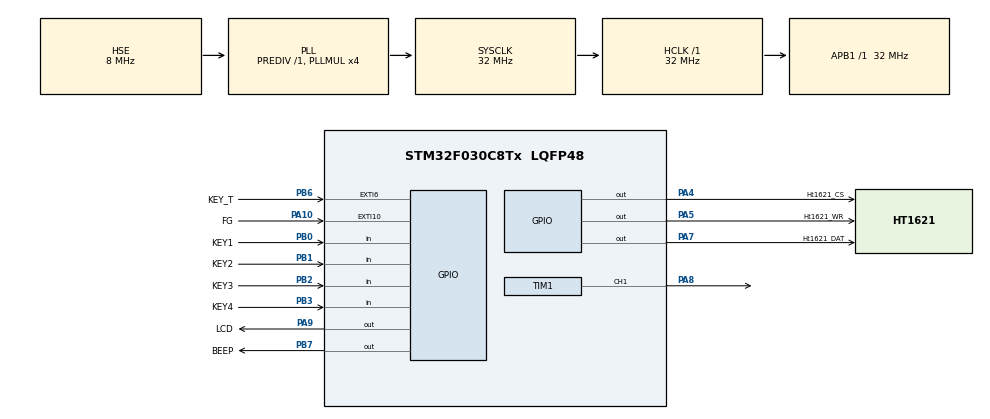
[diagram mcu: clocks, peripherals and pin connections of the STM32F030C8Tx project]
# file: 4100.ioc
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Mcu.Family=STM32F0
Mcu.Name=STM32F030C8Tx
Mcu.Package=LQFP48
NVIC.EXTI4_15_IRQn=true\:0\:0\:true\:false\:true\:true\:true
NVIC.RCC_IRQn=true\:0\:0\:false\:false\:true\:true\:false
NVIC.TIM1_BRK_UP_TRG_COM_IRQn=true\:0\:0\:false\:false\:true\:true\:true
NVIC.TIM1_CC_IRQn=true\:0\:0\:false\:false\:true\:true\:true
PA10.GPIO_Label=FG
PA10.GPIO_ModeDefaultEXTI=GPIO_MODE_IT_FALLING
PA10.GPIO_PuPd=GPIO_NOPULL
PA10.Signal=GPXTI10
PA4.GPIO_Label=Ht1621_CS
PA4.GPIO_PuPd=GPIO_PULLUP
PA4.GPIO_Speed=GPIO_SPEED_FREQ_HIGH
PA4.PinState=GPIO_PIN_SET
PA4.Signal=GPIO_Output
PA5.GPIO_Label=Ht1621_WR
PA5.GPIO_PuPd=GPIO_PULLUP
PA5.GPIO_Speed=GPIO_SPEED_FREQ_HIGH
PA5.PinState=GPIO_PIN_SET
PA5.Signal=GPIO_Output
PA7.GPIO_Label=Ht1621_DAT
PA7.GPIO_PuPd=GPIO_PULLUP
PA7.GPIO_Speed=GPIO_SPEED_FREQ_HIGH
PA7.PinState=GPIO_PIN_SET
PA7.Signal=GPIO_Output
PA8.Signal=S_TIM1_CH1
PA9.GPIO_Label=LCD
PA9.GPIO_PuPd=GPIO_PULLDOWN
PA9.PinState=GPIO_PIN_RESET
PA9.Signal=GPIO_Output
PB0.GPIO_Label=KEY1
PB0.GPIO_PuPd=GPIO_PULLUP
PB0.Signal=GPIO_Input
PB1.GPIO_Label=KEY2
PB1.GPIO_PuPd=GPIO_PULLUP
PB1.Signal=GPIO_Input
PB2.GPIO_Label=KEY3
PB2.GPIO_PuPd=GPIO_PULLUP
PB2.Signal=GPIO_Input
PB3.GPIO_Label=KEY4
PB3.GPIO_PuPd=GPIO_PULLUP
PB3.Signal=GPIO_Input
PB6.GPIO_Label=KEY_T
PB6.GPIO_ModeDefaultEXTI=GPIO_MODE_IT_FALLING
PB6.Signal=GPXTI6
PB7.GPIO_Label=BEEP
PB7.GPIO_ModeDefaultOutputPP=GPIO_MODE_OUTPUT_PP
PB7.GPIO_PuPd=GPIO_PULLUP
PB7.GPIO_Speed=GPIO_SPEED_FREQ_HIGH
PB7.PinState=GPIO_PIN_SET
PB7.Signal=GPIO_Output
PF0-OSC_IN.Mode=HSE-External-Oscillator
PF0-OSC_IN.Signal=RCC_OSC_IN
PF1-OSC_OUT.Mode=HSE-External-Oscillator
PF1-OSC_OUT.Signal=RCC_OSC_OUT
ProjectManager.HeapSize=0x200
ProjectManager.StackSize=0x400
ProjectManager.TargetToolchain=MDK-ARM V5
RCC.AHBFreq_Value=32000000
RCC.APB1Freq_Value=32000000
RCC.APB1TimFreq_Value=32000000
RCC.HCLKFreq_Value=32000000
RCC.PLLMUL=RCC_PLL_MUL4
RCC.PLLSourceVirtual=RCC_PLLSOURCE_HSE
RCC.SYSCLKFreq_VALUE=32000000
RCC.SYSCLKSource=RCC_SYSCLKSOURCE_PLLCLK
SH.S_TIM1_CH1.0=TIM1_CH1,PWM Generation1 CH1
TIM1.AutoReloadPreload=TIM_AUTORELOAD_PRELOAD_ENABLE
TIM1.Channel-PWM\ Generation1\ CH1=TIM_CHANNEL_1
TIM1.Period=100-1
TIM1.Prescaler=32-1
VP_TIM1_VS_ClockSourceINT.Mode=Internal
board=custom

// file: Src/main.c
/* USER CODE BEGIN Header */
/**
  ******************************************************************************
  * @file           : main.c
  * @brief          : Main program body
  ******************************************************************************
  * @attention
  *
  * <h2><center>&copy; Copyright (c) 2020 STMicroelectronics.
  * All rights reserved.</center></h2>
  *
  * This software component is licensed by ST under BSD 3-Clause license,
  * the "License"; You may not use this file except in compliance with the
  * License. You may obtain a copy of the License at:
  *                        opensource.org/licenses/BSD-3-Clause
  *
  ******************************************************************************
  */
/* USER CODE END Header */

#include "main.h"
#include "tim.h"
#include "gpio.h"

/* USER CODE BEGIN Includes */
#include "ht1623.h"
#include "lcd.h"
#include "user.h"
#include "key.h"
/* USER CODE END Includes */

/* USER CODE BEGIN PTD */
extern uint16_t Rpm,Time_SUM,RUN_Status;

/* USER CODE END PTD */

void SystemClock_Config(void);
/* USER CODE BEGIN PFP */
extern  uint8_t cnt;
/* USER CODE END PFP */

/* USER CODE BEGIN 0 */

uint32_t WriteFlashData = 0x12345678;
uint32_t addr = 0x0807E000;
uint16_t  Rpm_Cnt,PWM;
extern uint16_t Set_Flag,Set_Count,Key_Count,Key1_Count;
/*FLASH????*/
void writeFlashTest(void)
{
	/* 1/4??FLASH*/
	HAL_FLASH_Unlock();

	FLASH_EraseInitTypeDef FlashSet;
	FlashSet.TypeErase = FLASH_TYPEERASE_PAGES;
	FlashSet.PageAddress = addr;
	FlashSet.NbPages = 1;

	uint32_t PageError = 0;
	HAL_FLASHEx_Erase(&FlashSet, &PageError);

	HAL_FLASH_Program(FLASH_TYPEPROGRAM_WORD, addr, WriteFlashData);

	HAL_FLASH_Lock();
}

/*FLASH??????*/
void printFlashTest(void)
{
	uint32_t temp = *(__IO uint32_t*)(addr);

	printf("addr is:0x%x, data is:0x%x\r\n", addr, temp);
}

/* USER CODE END 0 */

int main(void)
{

  /* MCU Configuration--------------------------------------------------------*/

  /* Reset of all peripherals, Initializes the Flash interface and the Systick. */
  HAL_Init();

  /* Configure the system clock */
  SystemClock_Config();

  /* Initialize all configured peripherals */
  MX_GPIO_Init();
  MX_TIM1_Init();
  /* USER CODE BEGIN 2 */
	HAL_TIM_Base_Start_IT(&htim1);

   Sys_Init();
	 HAL_TIM_PWM_Start(&htim1, TIM_CHANNEL_1);
	  PWM=0;
  /* USER CODE END 2 */

  /* Infinite loop */
  /* USER CODE BEGIN WHILE */
  while (1)
  {
		 //HAL_GPIO_WritePin(BEEP_GPIO_Port, BEEP_Pin, GPIO_PIN_SET);//
		if(RUN_Status==Sys_RUN)
		PWM=Rpm/20;
		else PWM=0;
	//	HAL_GPIO_WritePin(GPIOA, GPIO_PIN_8, GPIO_PIN_RESET);
	__HAL_TIM_SET_COMPARE(&htim1,TIM_CHANNEL_1,PWM);//pwm 0—400
    /* USER CODE END WHILE */

    /* USER CODE BEGIN 3 */
		LCD_Display();
		Key_Handle();
	}
  /* USER CODE END 3 */
}

void SystemClock_Config(void)
{
  RCC_OscInitTypeDef RCC_OscInitStruct = {0};
  RCC_ClkInitTypeDef RCC_ClkInitStruct = {0};

  /** Initializes the CPU, AHB and APB busses clocks
  */
  RCC_OscInitStruct.OscillatorType = RCC_OSCILLATORTYPE_HSE;
  RCC_OscInitStruct.HSEState = RCC_HSE_ON;
  RCC_OscInitStruct.PLL.PLLState = RCC_PLL_ON;
  RCC_OscInitStruct.PLL.PLLSource = RCC_PLLSOURCE_HSE;
  RCC_OscInitStruct.PLL.PLLMUL = RCC_PLL_MUL4;
  RCC_OscInitStruct.PLL.PREDIV = RCC_PREDIV_DIV1;
  if (HAL_RCC_OscConfig(&RCC_OscInitStruct) != HAL_OK)
  {
    Error_Handler();
  }
  /** Initializes the CPU, AHB and APB busses clocks
  */
  RCC_ClkInitStruct.ClockType = RCC_CLOCKTYPE_HCLK|RCC_CLOCKTYPE_SYSCLK
                              |RCC_CLOCKTYPE_PCLK1;
  RCC_ClkInitStruct.SYSCLKSource = RCC_SYSCLKSOURCE_PLLCLK;
  RCC_ClkInitStruct.AHBCLKDivider = RCC_SYSCLK_DIV1;
  RCC_ClkInitStruct.APB1CLKDivider = RCC_HCLK_DIV1;

  if (HAL_RCC_ClockConfig(&RCC_ClkInitStruct, FLASH_LATENCY_1) != HAL_OK)
  {
    Error_Handler();
  }
}

/* USER CODE BEGIN 4 */
uint32_t next,Speed_Rel;
void HAL_GPIO_EXTI_Callback(uint16_t GPIO_Pin)
{

	//测速
		if(GPIO_Pin ==FG_Pin)
	{
		Rpm_Cnt++;
		if(Rpm_Cnt>3)
		{
			uint32_t first = HAL_GetTick();
			if((first-next)>0)
			Speed_Rel=120000/(first-next);
			//Rpm=Speed_Rel;
			next=first;
			Rpm_Cnt=0;
	  }

  }
}
uint32_t ms10;
extern uint16_t Rpm,Time_SUM;
extern uint8_t Set_Flag1,Set_Flag2;
extern uint8_t Point_Flag;
extern uint8_t Sys_Mode;
extern uint16_t BEEP_Count,BEEP_Close;
uint16_t Half_Sec;
void HAL_TIM_PeriodElapsedCallback(TIM_HandleTypeDef *htim)
{
  if(htim->Instance == TIM1)
  {
		ms10++;
		if(Key1_Count)
		Key1_Count--;

		if(BEEP_Close)
			BEEP_Close--;

		if(BEEP_Count)
			BEEP_Count--;
		 if(BEEP_Count==0)
			 HAL_GPIO_WritePin(BEEP_GPIO_Port, BEEP_Pin, GPIO_PIN_RESET);

		if(ms10>5000)
		{

			    Half_Sec++;
			    if(Half_Sec>1)
					{
						if(RUN_Status ==Sys_RUN)
							Time_SUM--;
						if(Time_SUM==0)
							RUN_Status =Sys_STOP;

						Half_Sec=0;
					}
					if(Sys_Mode==Sys_Point)
					Point_Flag=~Point_Flag;

			//设置位置闪烁
      if(Set_Flag)
			{
				if(Set_Count)
				Set_Count--;
				else
				{
					Set_Flag1=0;
					Set_Flag2=0;
					Set_Flag=0;
				}

				if(Set_Flag==1)
				Set_Flag1=~Set_Flag1;
				else if(Set_Flag==2)
				Set_Flag2=~Set_Flag2;

				if(Key_Count)
					Key_Count--;
			}
			ms10=0;

		}

    //10ms//0.1ms
  }
}

/* USER CODE END 4 */

void Error_Handler(void)
{
}

/************************ (C) COPYRIGHT STMicroelectronics *****END OF FILE****/
